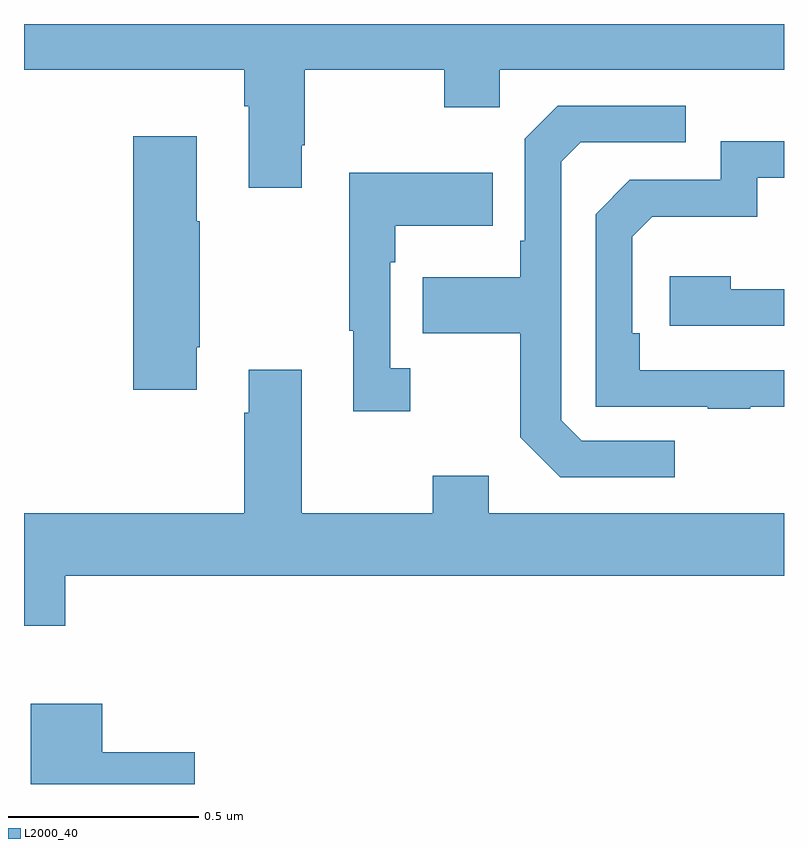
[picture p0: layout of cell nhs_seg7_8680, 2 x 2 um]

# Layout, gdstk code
import gdstk
lib = gdstk.Library(unit=1e-6, precision=1e-09)
def P(c, l, *ps):  # polygons
    for p in ps: c.add(gdstk.Polygon(p, *l))
L2000_40 = (2000, 40)

nhs_seg7_8680 = lib.new_cell('nhs_seg7_8680')
P(nhs_seg7_8680, L2000_40, [(227.731,1069.681),(227.739,1069.681),(227.739,1069.88),(228.106,1069.88),(228.106,1069.781),(228.252,1069.781),(228.252,1069.88),(229,1069.88),(229,1070),(227,1070),(227,1069.88),(227.579,1069.88),(227.579,1069.784),(227.591,1069.784),(227.591,1069.569),(227.731,1069.569)],
  [(228.712,1068.903),(228.468,1068.903),(228.414,1068.957),(228.414,1069.638),(228.465,1069.689),(228.742,1069.689),(228.742,1069.785),(228.405,1069.785),(228.318,1069.698),(228.318,1069.429),(228.306,1069.429),(228.306,1069.333),(228.049,1069.333),(228.049,1069.186),(228.306,1069.186),(228.306,1068.913),(228.411,1068.807),(228.712,1068.807)],
  [(227.455,1069.15),(227.463,1069.15),(227.463,1069.481),(227.455,1069.481),(227.455,1069.705),(227.288,1069.705),(227.288,1069.038),(227.455,1069.038)],
  [(228.911,1068.993),(229,1068.993),(229,1069.089),(228.62,1069.089),(228.62,1069.186),(228.6,1069.186),(228.6,1069.44),(228.653,1069.493),(228.93,1069.493),(228.93,1069.596),(229,1069.596),(229,1069.692),(228.834,1069.692),(228.834,1069.59),(228.594,1069.59),(228.504,1069.5),(228.504,1068.993),(228.799,1068.993),(228.799,1068.988),(228.911,1068.988)],
  [(228.016,1069.094),(227.964,1069.094),(227.964,1069.373),(227.977,1069.373),(227.977,1069.469),(228.233,1069.469),(228.233,1069.609),(227.856,1069.609),(227.856,1069.193),(227.867,1069.193),(227.867,1068.981),(228.016,1068.981)],
  [(229,1069.302),(228.86,1069.302),(228.86,1069.336),(228.699,1069.336),(228.699,1069.206),(229,1069.206)],
  [(227.108,1068.548),(229,1068.548),(229,1068.712),(228.223,1068.712),(228.223,1068.811),(228.076,1068.811),(228.076,1068.712),(227.731,1068.712),(227.731,1069.09),(227.591,1069.09),(227.591,1068.977),(227.579,1068.977),(227.579,1068.712),(227,1068.712),(227,1068.417),(227.108,1068.417)],
  [(227.449,1068.084),(227.206,1068.084),(227.206,1068.211),(227.018,1068.211),(227.018,1068),(227.449,1068)])

lib.write_gds('nhs_seg7_8680.gds')
